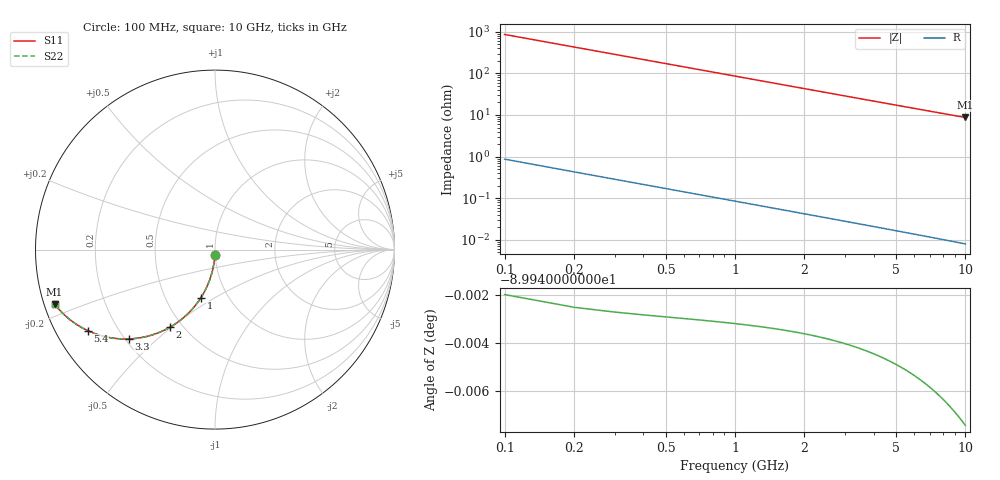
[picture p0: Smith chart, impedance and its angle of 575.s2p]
# Hz S RI R 50.00
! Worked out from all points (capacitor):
!   100 points, 100 MHz to 10 GHz, reference 50 ohm
!   read as one part in shunt: C = 1.85 pF near 100 MHz
!   lowest |Z| = 8.73 ohm at 10 GHz (marker M1)
!   S11 on the Smith chart (normalised r, x): 100 MHz: 1.00, -0.06; 1 GHz: 0.75, -0.43; 2 GHz: 0.43, -0.49; 3.3 GHz: 0.22, -0.41; 5.4 GHz: 0.09, -0.29; 10 GHz: 0.03, -0.17
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1e8  -0.000842 -0.029  0.9991 -0.0291  0.9991 -0.0291  -0.000842 -0.029
2e8  -0.00339 -0.0578  0.9965 -0.058  0.9965 -0.058  -0.00339 -0.0578
3e8  -0.00759 -0.0863  0.9923 -0.0866  0.9923 -0.0866  -0.00759 -0.0863
4e8  -0.0134 -0.1144  0.9865 -0.1148  0.9865 -0.1148  -0.0134 -0.1144
5e8  -0.0208 -0.142  0.9792 -0.1424  0.9792 -0.1424  -0.0208 -0.142
6e8  -0.0296 -0.1688  0.9703 -0.1693  0.9703 -0.1693  -0.0296 -0.1688
7e8  -0.0398 -0.1949  0.9601 -0.1955  0.9601 -0.1955  -0.0398 -0.1949
8e8  -0.0514 -0.22  0.9485 -0.2207  0.9485 -0.2207  -0.0514 -0.22
1e9  -0.078 -0.2673  0.922 -0.2681  0.922 -0.2681  -0.078 -0.2673
1.2e9  -0.1085 -0.3101  0.8914 -0.3111  0.8914 -0.3111  -0.1085 -0.3101
1.4e9  -0.1421 -0.3481  0.8579 -0.3493  0.8579 -0.3493  -0.1421 -0.3481
1.8e9  -0.2148 -0.4094  0.7852 -0.411  0.7852 -0.411  -0.2148 -0.4094
2e9  -0.2524 -0.433  0.7476 -0.4347  0.7476 -0.4347  -0.2524 -0.433
2.6e9  -0.363 -0.4793  0.6369 -0.4815  0.6369 -0.4815  -0.363 -0.4793
3.3e9  -0.4784 -0.4976  0.5215 -0.5004  0.5215 -0.5004  -0.4784 -0.4976
3.4e9  -0.4933 -0.498  0.5066 -0.5009  0.5066 -0.5009  -0.4933 -0.498
4.2e9  -0.5975 -0.4881  0.4024 -0.4917  0.4024 -0.4917  -0.5975 -0.4881
5.1e9  -0.6862 -0.4613  0.3137 -0.4657  0.3137 -0.4657  -0.6862 -0.4613
5.4e9  -0.7102 -0.4508  0.2897 -0.4554  0.2897 -0.4554  -0.7102 -0.4508
6.7e9  -0.7903 -0.4037  0.2096 -0.4094  0.2096 -0.4094  -0.7903 -0.4037
8.4e9  -0.8555 -0.3474  0.1444 -0.3547  0.1444 -0.3547  -0.8555 -0.3474
1e10  -0.8934 -0.3036  0.1065 -0.3123  0.1065 -0.3123  -0.8934 -0.3036
